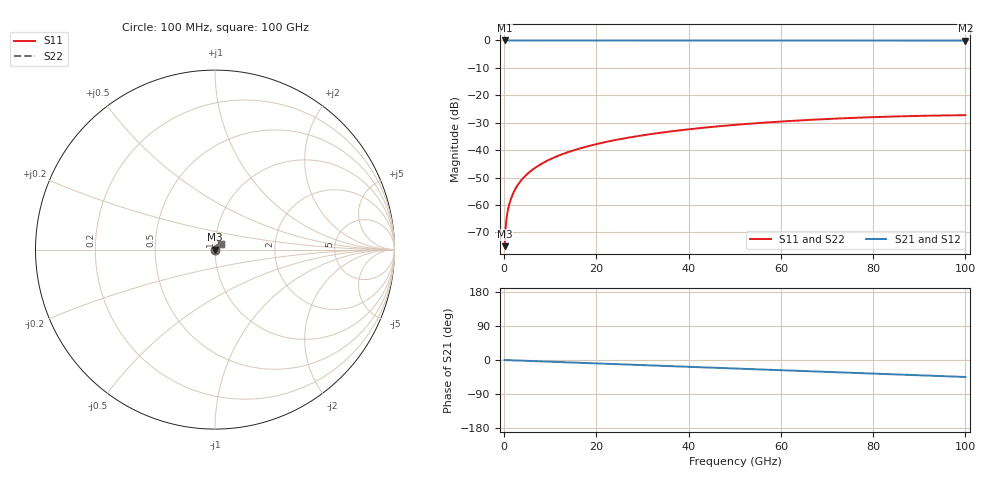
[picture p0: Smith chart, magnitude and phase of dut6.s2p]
! Touchstone file exported from HFSS 2026.1.0
!  File:  C:/ffzhzh/LocalFiles/Ansys_Project_Files/temp_train_TSV_6_1783504144_44152.aedt
!  Generated:  05:50:28 PM Jul  8, 2026
!  Design:  TSV
!  Project:  temp_train_TSV_6_1783504144_44152
! Variables:
!  h_bsmrdl = 2um
!  h_ox = 20um
!  h_rdl = 5um
!  h_sub = 90.75um
!  h_tmrdl = 5um
!  h_tsv = 90.75um
!  h_via = 3um
!  l_bsmrdl = 300um
!  l_sub = 420.16um
!  l_tmrdl = 200um
!  m_sub = 200um
!  pitch = 44.86um
!  r_tsv = 10.08um
!  s_tmrdl = 10um
!  w_bsmrdl = 18um
!  w_sub = 500um
!  w_tmrdl = 12um
!  x_tsv_center1 = 206um
!  x_tsv_center2 = 524um
!  x_tsv_center3 = 736um
!  x_tsv_center4 = 1054um
!  x_tsv_center5 = 1266um
!  x_tsv_center6 = 1584um
# GHz S MA R 50.000000
! Terminal data exported
! Port[1] = TSV1_1_T1
! Port[2] = TSV1_1_T2
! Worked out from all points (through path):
!   1000 points, 100 MHz to 100 GHz, reference 50 ohm
!   highest |S21| = 0.00 dB at 100 MHz (marker M1); lowest = 0.0 dB at 100 GHz (marker M2)
!   group delay of S21, straight-line fit = 1.24 ps
!   lowest |S11| = -75.0 dB at 100 MHz (marker M3), VSWR 1.00, Z = 50 + j0.0111 ohm
!   |S11| at or under -10 dB: start of sweep to end of sweep
!   |S22| runs from -75.0 to -27.3 dB; largest |S21 - S12| = 4.7e-15
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0.1  0.0001774 38.8  0.9999 -0.0  0.9999 -0.0  0.0001774 38.8
! Gamma 0 0 0 0
! Port Impedance 50 0 50 0
0.4  0.0004573 64.5  0.9998 -0.2  0.9998 -0.2  0.0004573 64.5
0.7  0.0007129 68.0  0.9997 -0.3  0.9997 -0.3  0.0007129 68.0
0.8  0.0007913 68.8  0.9997 -0.4  0.9997 -0.4  0.0007913 68.8
1.1  0.001017 70.5  0.9997 -0.5  0.9997 -0.5  0.001017 70.5
1.4  0.001235 71.9  0.9996 -0.6  0.9996 -0.6  0.001235 71.9
1.9  0.001591 73.4  0.9996 -0.9  0.9996 -0.9  0.001591 73.4
2.4  0.00194 74.5  0.9995 -1.1  0.9995 -1.1  0.00194 74.4
3.1  0.002416 75.4  0.9994 -1.4  0.9994 -1.4  0.002416 75.4
3.9  0.002947 76.0  0.9994 -1.8  0.9994 -1.8  0.002947 76.0
4.9  0.003599 76.6  0.9993 -2.2  0.9993 -2.2  0.003599 76.6
6.1  0.00437 77.0  0.9992 -2.8  0.9992 -2.8  0.00437 77.0
8.9  0.006142 77.2  0.999 -4.0  0.999 -4.0  0.006142 77.2
12.4  0.008312 76.6  0.9988 -5.6  0.9988 -5.6  0.008312 76.6
16.8  0.01097 75.6  0.9986 -7.6  0.9986 -7.6  0.01097 75.6
24.2  0.01532 73.3  0.9983 -10.9  0.9983 -10.9  0.01532 73.3
33.4  0.02048 69.9  0.9979 -15.0  0.9979 -15.0  0.02048 69.9
41.3  0.02464 66.8  0.9976 -18.5  0.9976 -18.5  0.02464 66.8
50.1  0.02892 63.2  0.9973 -22.4  0.9973 -22.4  0.02892 63.2
66.7  0.0358 56.3  0.9967 -29.9  0.9967 -29.9  0.0358 56.2
83.4  0.04082 49.0  0.9962 -37.3  0.9962 -37.3  0.04082 49.0
100  0.04338 41.8  0.9956 -44.8  0.9956 -44.8  0.04338 41.8
